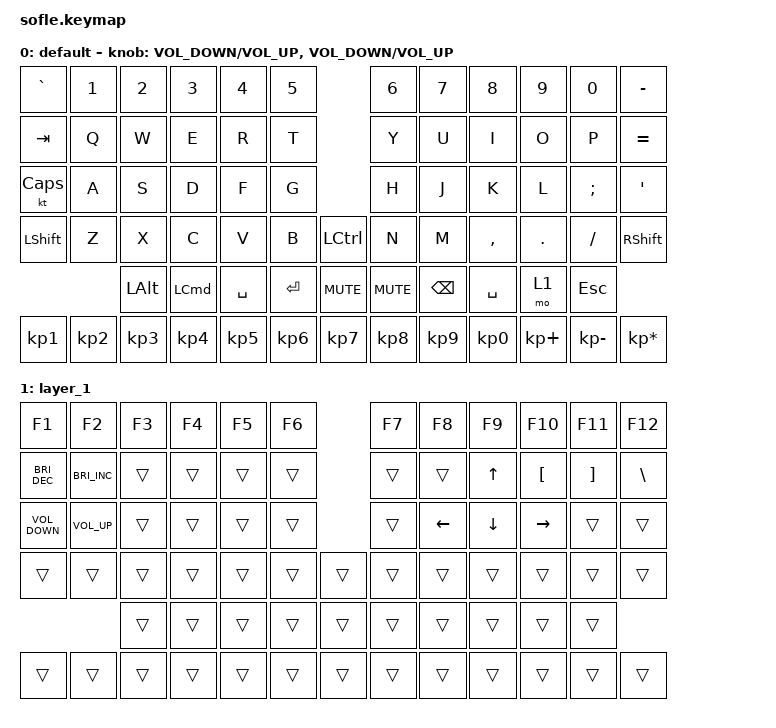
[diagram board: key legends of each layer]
#include <behaviors.dtsi>
#include <dt-bindings/zmk/keys.h>


/ {
    keymap {
        compatible = "zmk,keymap";

        default {
            bindings = <
&kp GRAVE  &kp N1  &kp N2     &kp N3             &kp N4      &kp N5                         &kp N6            &kp N7      &kp N8     &kp N9      &kp N0       &kp MINUS
&kp TAB    &kp Q   &kp W      &kp E              &kp R       &kp T                          &kp Y             &kp U       &kp I      &kp O       &kp P        &kp EQUAL
&kt CAPS   &kp A   &kp S      &kp D              &kp F       &kp G                          &kp H             &kp J       &kp K      &kp L       &kp SEMI     &kp APOS
&kp LSHFT  &kp Z   &kp X      &kp C              &kp V       &kp B      &kp LCTRL           &kp N             &kp M       &kp COMMA  &kp DOT     &kp FSLH     &kp RSHFT
                   &kp LALT   &kp LEFT_COMMAND   &kp SPACE   &kp RETURN &kp C_MUTE          &kp C_MUTE        &kp BSPC    &kp SPACE  &mo 1       &kp ESCAPE
&kp KP_N1 &kp KP_N2 &kp KP_N3 &kp KP_N4 &kp KP_N5 &kp KP_N6 &kp KP_N7 &kp KP_N8 &kp KP_N9 &kp KP_N0 &kp KP_PLUS &kp KP_MINUS &kp KP_MULTIPLY
            >;

            sensor-bindings = <&inc_dec_kp C_VOLUME_DOWN C_VOLUME_UP &inc_dec_kp C_VOLUME_DOWN C_VOLUME_UP>;
        };

        layer_1 {
            bindings = <
&kp F1            &kp F2          &kp F3  &kp F4  &kp F5  &kp F6                    &kp F7  &kp F8    &kp F9        &kp F10           &kp F11            &kp F12
&kp C_BRI_DEC     &kp C_BRI_INC   &trans  &trans  &trans  &trans                    &trans  &trans    &kp UP_ARROW  &kp LEFT_BRACKET  &kp RIGHT_BRACKET  &kp BACKSLASH
&kp C_VOLUME_DOWN &kp C_VOLUME_UP &trans  &trans  &trans  &trans                    &trans  &kp LEFT  &kp DOWN      &kp RIGHT         &trans             &trans
&trans            &trans          &trans  &trans  &trans  &trans  &trans            &trans  &trans    &trans        &trans            &trans             &trans
                                  &trans  &trans  &trans  &trans  &trans            &trans  &trans    &trans        &trans            &trans
                                                                                    &trans  &trans    &trans        &trans            &trans  &trans &trans &trans &trans &trans &trans &trans &trans
            >;
        };
    };
};
